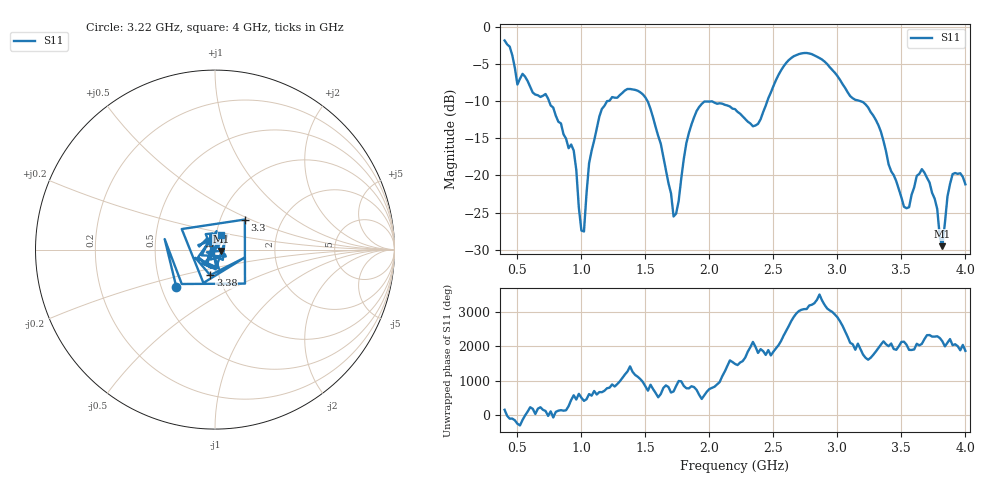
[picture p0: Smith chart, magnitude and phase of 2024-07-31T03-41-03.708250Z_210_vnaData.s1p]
!Created with skrf (http://scikit-rf.org).
# Hz S RI R 50.0
!freq ReS11 ImS11
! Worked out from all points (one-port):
!   181 points, 400 MHz to 4 GHz, reference 50 ohm
!   lowest |S11| = -29.5 dB at 3.82 GHz (marker M1), VSWR 1.07, Z = 53.4 - j0.751 ohm
!   |S11| at or under -10 dB: 746.8 MHz to 1.208 GHz (460.9 MHz wide, 47.2 % of centre); 1.516 GHz to 2.453 GHz (936.7 MHz wide, 47.2 % of centre); 3.177 GHz to end of sweep
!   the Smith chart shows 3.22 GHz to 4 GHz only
!   S11 on the Smith chart (normalised r, x): 3.22 GHz: 0.60, -0.27; 3.3 GHz: 1.31, +0.46; 3.38 GHz: 0.91, -0.27; 4 GHz: 1.06, +0.17
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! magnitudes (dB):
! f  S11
! 400 MHz  -1.9
! 500 MHz  -7.8
! 720 MHz  -9.1
! 860 MHz  -14.5
! 940 MHz  -16.7
! 1 GHz  -27.4
! 1.02 GHz  -27.5
! 1.06 GHz  -18.4
! 1.14 GHz  -12.1
! 1.3 GHz  -9.2
! 1.52 GHz  -10.1
! 1.72 GHz  -25.5
! 1.76 GHz  -23.4
! 1.82 GHz  -15.7
! 1.9 GHz  -11.4
! 2.2 GHz  -11.1
! 2.38 GHz  -13.1
! 2.66 GHz  -4.0
! 3.1 GHz  -9.3
! 3.22 GHz  -10.5
! 3.3 GHz  -12.5
! 3.38 GHz  -16.8
! 3.56 GHz  -24.3
! 3.66 GHz  -19.2
! 3.76 GHz  -23.1
! 3.82 GHz  -29.5
! 3.9 GHz  -19.8
! 4 GHz  -21.2
